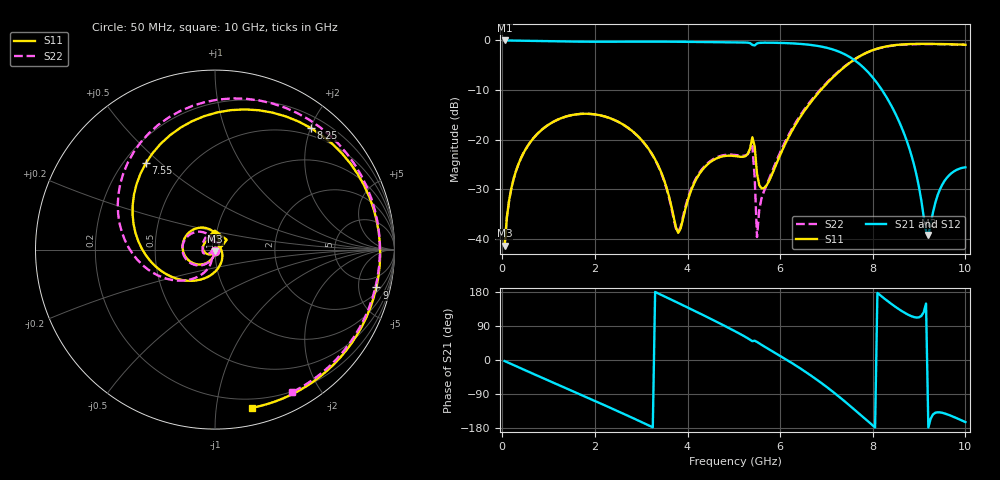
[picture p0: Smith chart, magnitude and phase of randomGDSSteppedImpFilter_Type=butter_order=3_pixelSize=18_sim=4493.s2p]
! freq	dB(S11)	phase(S11)	dB(S12)	phase(S12)
!  dB(S21)	phase(S21)	dB(S22)	phase(S22)
!S-par simulation data
#  GHz  S  DB  R 50
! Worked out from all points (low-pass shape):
!   200 points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, 50 MHz to 10 GHz, reference 50 ohm
!   highest |S21| = -0.01 dB at 50 MHz (marker M1); lowest = -39.3 dB at 9.2 GHz (marker M2)
!   |S21| within 3 dB of the highest: start of sweep to 7.438 GHz
!   lowest |S11| = -41.4 dB at 50 MHz (marker M3), VSWR 1.02, Z = 50 - j0.851 ohm
!   |S11| at or under -10 dB: start of sweep to 6.879 GHz
!   |S22| runs from -41.5 to -0.7 dB; largest |S21 - S12| = 0
!   S11 on the Smith chart (normalised r, x): 50 MHz: 1.00, -0.02; 7.55 GHz: 0.29, +0.45; 8.25 GHz: 0.38, +2.00; 9 GHz: 2.70, -7.72; 10 GHz: 0.13, -1.25
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0.05  -41.40 -91.1  -0.01 -2.8  -0.01 -2.8  -41.52 -91.2
0.2  -29.67 -101.2  -0.02 -11.0  -0.02 -11.0  -29.67 -100.5
0.5  -22.03 -118.8  -0.06 -27.4  -0.06 -27.4  -22.03 -116.9
1.75  -14.80 170.6  -0.26 -94.7  -0.26 -94.7  -14.81 178.4
2.7  -17.53 114.4  -0.25 -146.5  -0.25 -146.5  -17.56 131.0
3.4  -25.93 63.9  -0.24 173.8  -0.24 173.8  -26.06 102.9
3.8  -38.82 -36.7  -0.27 150.5  -0.27 150.5  -38.73 162.0
4.3  -26.37 -148.4  -0.32 120.8  -0.32 120.8  -26.13 -150.1
5.05  -23.37 147.7  -0.39 74.3  -0.39 74.3  -23.14 -178.4
5.4  -19.55 90.2  -0.90 49.6  -0.90 49.6  -21.34 128.6
5.5  -26.93 27.2  -0.60 47.6  -0.60 47.6  -39.69 -66.7
5.6  -29.87 22.2  -0.47 39.9  -0.47 39.9  -31.78 -122.0
6.1  -21.06 -70.6  -0.53 3.7  -0.53 3.7  -20.58 -108.1
6.7  -12.01 -137.6  -0.95 -44.1  -0.95 -44.1  -11.75 -137.9
7.15  -7.34 173.9  -1.86 -84.9  -1.86 -84.9  -7.20 -172.6
7.55  -4.20 128.8  -3.62 -125.3  -3.62 -125.3  -4.15 150.3
8.25  -1.29 51.8  -10.74 162.1  -10.74 162.1  -1.33 78.4
8.35  -1.11 41.9  -12.31 152.7  -12.31 152.7  -1.16 68.5
9  -0.69 -13.2  -29.70 112.7  -29.70 112.7  -0.74 9.9
9.2  -0.69 -27.4  -39.26 -178.2  -39.26 -178.2  -0.73 -6.0
9.5  -0.73 -47.1  -29.12 -139.3  -29.12 -139.3  -0.76 -28.2
10  -0.87 -77.0  -25.60 -163.8  -25.60 -163.8  -0.88 -61.8
